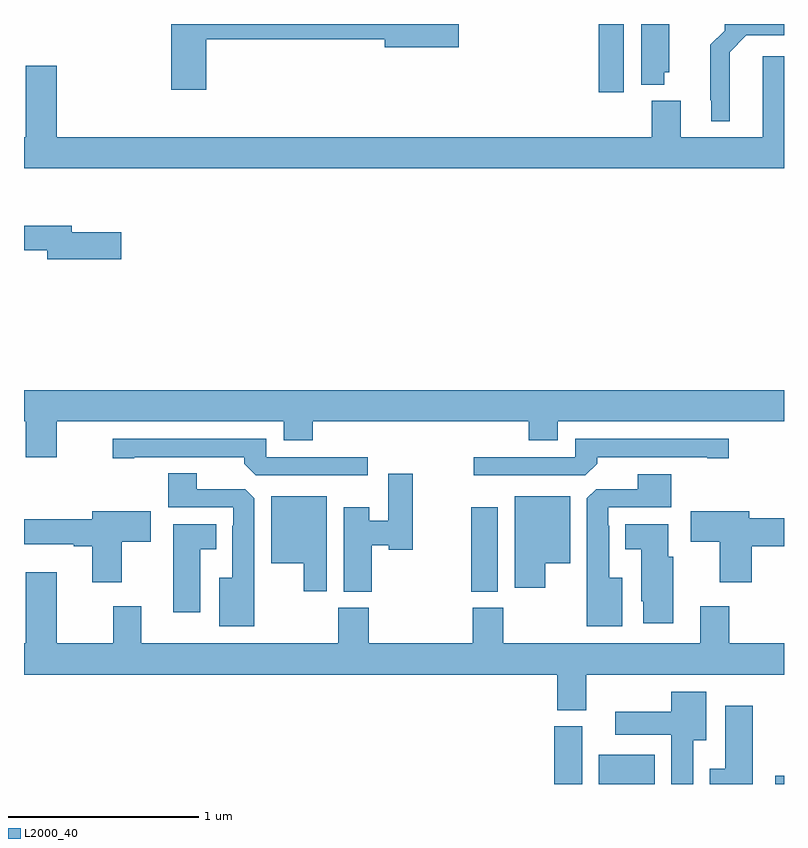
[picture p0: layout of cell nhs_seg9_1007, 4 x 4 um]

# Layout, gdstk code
import gdstk
lib = gdstk.Library(unit=1e-6, precision=1e-09)
def R(c, l, rs):  # rectangles x0, y0, x1, y1
    for r in rs: c.add(gdstk.rectangle(r[:2], r[2:], *l))
def P(c, l, *ps):  # polygons
    for p in ps: c.add(gdstk.Polygon(p, *l))
L2000_40 = (2000, 40)

nhs_seg9_1007 = lib.new_cell('nhs_seg9_1007')
R(nhs_seg9_1007, L2000_40, [(167.792,1206.5,167.938,1206.804), (168.026,1206.5,168.319,1206.655), (168.954,1206.5,169,1206.543), (167.353,1207.513,167.494,1207.957), (168.026,1210.14,168.157,1210.5)])
P(nhs_seg9_1007, L2000_40, [(168.715,1210.352),(168.802,1210.44),(169,1210.44),(169,1210.5),(168.687,1210.5),(168.687,1210.464),(168.613,1210.39),(168.613,1210.099),(168.617,1210.099),(168.617,1209.989),(168.715,1209.989)],
  [(165.959,1210.42),(166.898,1210.42),(166.898,1210.378),(167.287,1210.378),(167.287,1210.5),(165.776,1210.5),(165.776,1210.155),(165.959,1210.155)],
  [(168.37,1210.245),(168.397,1210.245),(168.397,1210.5),(168.248,1210.5),(168.248,1210.181),(168.37,1210.181)],
  [(169,1210.33),(168.887,1210.33),(168.887,1209.904),(168.457,1209.904),(168.457,1210.096),(168.305,1210.096),(168.305,1209.904),(165.172,1209.904),(165.172,1210.279),(165.008,1210.279),(165.008,1209.904),(165,1209.904),(165,1209.74),(169,1209.74)],
  [(165.511,1209.405),(165.25,1209.405),(165.25,1209.439),(165,1209.439),(165,1209.31),(165.122,1209.31),(165.122,1209.263),(165.511,1209.263)],
  [(165.172,1208.408),(166.367,1208.408),(166.367,1208.309),(166.52,1208.309),(166.52,1208.408),(167.657,1208.408),(167.657,1208.309),(167.809,1208.309),(167.809,1208.408),(169,1208.408),(169,1208.572),(165,1208.572),(165,1208.408),(165.008,1208.408),(165.008,1208.22),(165.172,1208.22)],
  [(168.017,1208.186),(168.017,1208.22),(168.596,1208.22),(168.596,1208.215),(168.709,1208.215),(168.709,1208.316),(167.901,1208.316),(167.901,1208.22),(167.367,1208.22),(167.367,1208.124),(167.955,1208.124)],
  [(166.81,1208.22),(166.275,1208.22),(166.275,1208.316),(165.468,1208.316),(165.468,1208.215),(165.58,1208.215),(165.58,1208.22),(166.16,1208.22),(166.16,1208.186),(166.221,1208.124),(166.81,1208.124)],
  [(166.213,1208.003),(166.164,1208.052),(165.91,1208.052),(165.91,1208.135),(165.758,1208.135),(165.758,1207.956),(166.101,1207.956),(166.101,1207.859),(166.097,1207.859),(166.097,1207.585),(166.028,1207.585),(166.028,1207.331),(166.213,1207.331)],
  [(166.829,1207.756),(166.92,1207.756),(166.92,1207.733),(167.046,1207.733),(167.046,1208.134),(166.916,1208.134),(166.916,1207.885),(166.816,1207.885),(166.816,1207.957),(166.682,1207.957),(166.682,1207.513),(166.829,1207.513)],
  [(168.148,1207.585),(168.079,1207.585),(168.079,1207.859),(168.075,1207.859),(168.075,1207.956),(168.406,1207.956),(168.406,1208.131),(168.23,1208.131),(168.23,1208.052),(168.012,1208.052),(167.963,1208.003),(167.963,1207.331),(168.148,1207.331)],
  [(166.594,1208.014),(166.301,1208.014),(166.301,1207.661),(166.472,1207.661),(166.472,1207.515),(166.594,1207.515)],
  [(167.743,1207.661),(167.875,1207.661),(167.875,1208.014),(167.582,1208.014),(167.582,1207.533),(167.743,1207.533)],
  [(165.514,1207.774),(165.667,1207.774),(165.667,1207.936),(165.359,1207.936),(165.359,1207.893),(165,1207.893),(165,1207.763),(165.263,1207.763),(165.263,1207.751),(165.359,1207.751),(165.359,1207.563),(165.514,1207.563)],
  [(168.83,1207.751),(169,1207.751),(169,1207.898),(168.817,1207.898),(168.817,1207.936),(168.51,1207.936),(168.51,1207.774),(168.662,1207.774),(168.662,1207.563),(168.83,1207.563)],
  [(165.928,1207.736),(166.012,1207.736),(166.012,1207.867),(165.785,1207.867),(165.785,1207.404),(165.928,1207.404)],
  [(168.418,1207.695),(168.391,1207.695),(168.391,1207.867),(168.164,1207.867),(168.164,1207.736),(168.248,1207.736),(168.248,1207.461),(168.26,1207.461),(168.26,1207.347),(168.418,1207.347)],
  [(167.959,1207.076),(169,1207.076),(169,1207.24),(168.713,1207.24),(168.713,1207.435),(168.56,1207.435),(168.56,1207.24),(167.523,1207.24),(167.523,1207.428),(167.363,1207.428),(167.363,1207.24),(166.814,1207.24),(166.814,1207.428),(166.654,1207.428),(166.654,1207.24),(165.616,1207.24),(165.616,1207.435),(165.469,1207.435),(165.469,1207.24),(165.172,1207.24),(165.172,1207.615),(165.008,1207.615),(165.008,1207.24),(165,1207.24),(165,1207.076),(167.807,1207.076),(167.807,1206.889),(167.959,1206.889)],
  [(168.523,1206.731),(168.592,1206.731),(168.592,1206.985),(168.407,1206.985),(168.407,1206.88),(168.111,1206.88),(168.111,1206.758),(168.407,1206.758),(168.407,1206.5),(168.523,1206.5)],
  [(168.835,1206.913),(168.692,1206.913),(168.692,1206.58),(168.608,1206.58),(168.608,1206.5),(168.835,1206.5)])

lib.write_gds('nhs_seg9_1007.gds')
